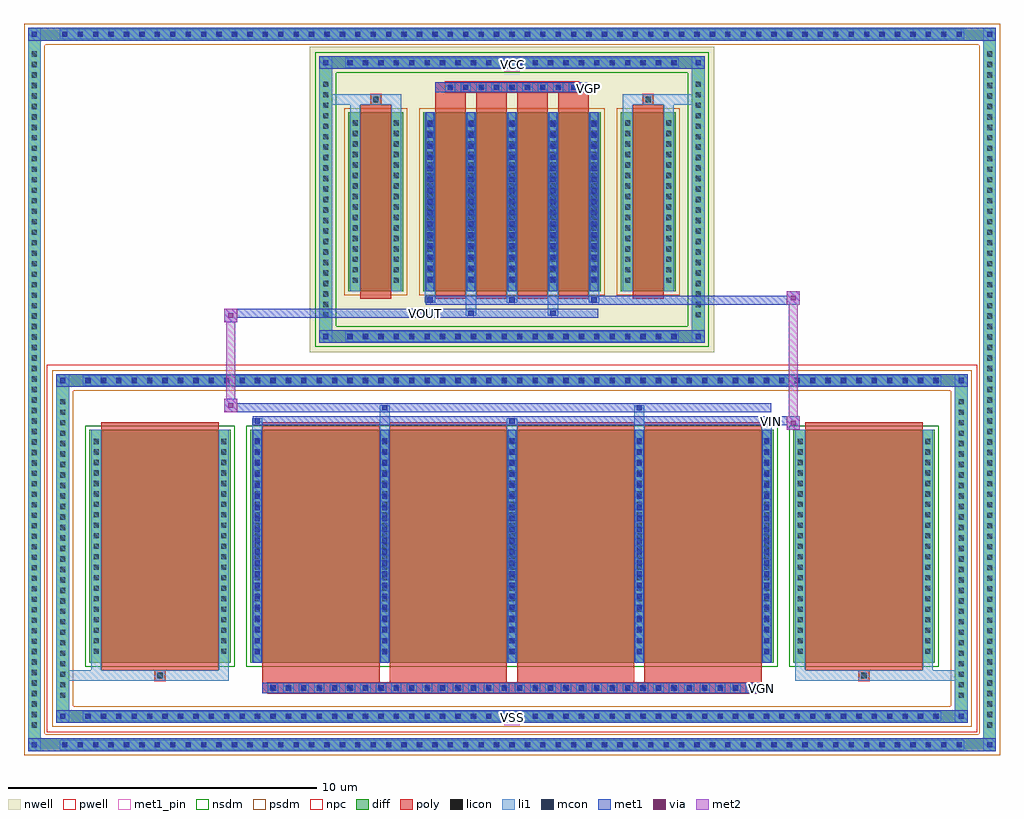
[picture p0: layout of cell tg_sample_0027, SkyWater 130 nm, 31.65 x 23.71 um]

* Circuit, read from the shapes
.subckt tg_sample_0027 VCC VGN VGP VIN VOUT VSS
XM1 VSS VSS VSS VSUBS sky130_fd_pr__nfet_01v8 w=7.55 l=3.8 m=2
XM2 VOUT VGN VIN VSUBS sky130_fd_pr__nfet_01v8 w=7.55 l=3.8 m=4
XM3 VCC VCC VCC n1 sky130_fd_pr__pfet_01v8 w=5.8 l=1 m=2
XM4 VOUT VGP VIN n1 sky130_fd_pr__pfet_01v8 w=5.8 l=1 m=4
.ends

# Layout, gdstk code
import gdstk
lib = gdstk.Library(unit=1e-6, precision=5e-09)
def R(c, l, rs):  # rectangles x0, y0, x1, y1
    for r in rs: c.add(gdstk.rectangle(r[:2], r[2:], *l))
def A(c, l, x, y, w, h, nx, ny, dx, dy):  # array of equal rectangles
    R(c, l, [(x+i*dx, y+j*dy, x+i*dx+w, y+j*dy+h) for i in range(nx) for j in range(ny)])
def P(c, l, *ps):  # polygons
    for p in ps: c.add(gdstk.Polygon(p, *l))
nwell = (64, 20)
pwell = (64, 44)
diff = (65, 20)
poly = (66, 20)
licon = (66, 44)
li1 = (67, 20)
mcon = (67, 44)
met1_pin = (68, 16)
met1 = (68, 20)
via = (68, 44)
met2 = (69, 20)
nsdm = (93, 44)
psdm = (94, 20)
npc = (95, 20)

tg_sample_0027 = lib.new_cell('tg_sample_0027')
R(tg_sample_0027, nwell, [(-6.555,6.36,6.555,16.27)])
R(tg_sample_0027, pwell, [(-15.085,-5.96,15.085,5.96)])
A(tg_sample_0027, diff, -14.705, -6.57, 0.41, 0.41, 59, 2, 0.5, 23.04)
A(tg_sample_0027, diff, -15.695, -5.93, 0.41, 0.41, 1, 65, 0, 0.34)
A(tg_sample_0027, diff, 15.285, -5.93, 0.41, 0.41, 1, 65, 0, 0.34)
A(tg_sample_0027, diff, -13.955, -5.65, 0.41, 0.41, 56, 2, 0.5, 10.89)
A(tg_sample_0027, diff, -14.775, -4.965, 0.41, 0.41, 1, 29, 0, 0.34)
A(tg_sample_0027, diff, 14.365, -4.965, 0.41, 0.41, 1, 29, 0, 0.34)
A(tg_sample_0027, diff, -5.455, 6.67, 0.41, 0.41, 22, 2, 0.5, 8.88)
A(tg_sample_0027, diff, -6.245, 7.37, 0.41, 0.41, 1, 23, 0, 0.34)
A(tg_sample_0027, diff, 5.835, 7.37, 0.41, 0.41, 1, 23, 0, 0.34)
R(tg_sample_0027, diff, [(-14.705,-6.57,14.705,-6.16), (-15.695,-5.93,-15.285,16.24), (15.285,-5.93,15.695,16.24), (-13.955,-5.65,13.955,-5.24), (-14.775,-4.965,-14.365,4.965), (14.365,-4.965,14.775,4.965), (-13.705,-3.705,-9.125,3.845), (-8.485,-3.705,8.485,3.845), (9.125,-3.705,13.705,3.845), (-13.955,5.24,13.955,5.65), (-5.455,6.67,5.455,7.08), (-6.245,7.37,-5.835,15.26), (5.835,7.37,6.245,15.26), (-5.305,8.345,-3.525,14.145), (-2.885,8.345,2.885,14.145), (3.525,8.345,5.305,14.145), (-5.455,15.55,5.455,15.96), (-14.705,16.47,14.705,16.88)])
P(tg_sample_0027, diff, [(14.775,5.65),(-14.775,5.65),(-14.775,-5.24),(-14.365,-5.24),(-14.365,5.24),(14.365,5.24),(14.365,-5.24),(-14.365,-5.24),(-14.775,-5.24),(-14.775,-5.65),(14.775,-5.65)],
  [(15.695,16.88),(-15.695,16.88),(-15.695,-6.16),(-15.285,-6.16),(-15.285,16.47),(15.285,16.47),(15.285,-6.16),(-15.285,-6.16),(-15.695,-6.16),(-15.695,-6.57),(15.695,-6.57)],
  [(6.245,6.67),(-6.245,6.67),(-6.245,15.55),(-5.835,15.55),(-5.835,7.08),(5.835,7.08),(5.835,15.55),(-5.835,15.55),(-6.245,15.55),(-6.245,15.96),(6.245,15.96)])
A(tg_sample_0027, poly, -7.915, -4.69, 0.33, 0.33, 32, 1, 0.5, 0)
A(tg_sample_0027, poly, -8.095, -4.36, 3.8, 0.405, 4, 1, 4.13, 0)
A(tg_sample_0027, poly, -8.095, -3.955, 3.8, 8.05, 4, 1, 4.13, 0)
A(tg_sample_0027, poly, -2.495, 8.095, 1, 6.3, 4, 1, 1.33, 0)
A(tg_sample_0027, poly, -2.495, 14.395, 1, 0.4, 4, 1, 1.33, 0)
A(tg_sample_0027, poly, -2.165, 14.795, 0.33, 0.33, 9, 1, 0.5, 0)
R(tg_sample_0027, poly, [(-8.095,-4.69,8.095,-4.36), (-11.58,-4.285,-11.25,-3.955), (-11.58,-4.285,-11.25,-3.955), (11.25,-4.285,11.58,-3.955), (11.25,-4.285,11.58,-3.955), (-13.315,-3.955,-9.515,4.095), (9.515,-3.955,13.315,4.095), (-4.915,8.095,-3.915,14.395), (3.915,8.095,4.915,14.395), (-4.58,14.395,-4.25,14.725), (-4.58,14.395,-4.25,14.725), (4.25,14.395,4.58,14.725), (4.25,14.395,4.58,14.725), (-2.495,14.795,2.495,15.125)])
A(tg_sample_0027, licon, -14.585, -6.45, 0.17, 0.17, 59, 2, 0.5, 23.04)
A(tg_sample_0027, licon, -15.575, -5.81, 0.17, 0.17, 1, 65, 0, 0.34)
A(tg_sample_0027, licon, 15.405, -5.81, 0.17, 0.17, 1, 65, 0, 0.34)
A(tg_sample_0027, licon, -13.835, -5.53, 0.17, 0.17, 56, 2, 0.5, 10.89)
A(tg_sample_0027, licon, -14.655, -4.845, 0.17, 0.17, 1, 29, 0, 0.34)
A(tg_sample_0027, licon, 14.485, -4.845, 0.17, 0.17, 1, 29, 0, 0.34)
A(tg_sample_0027, licon, -7.835, -4.61, 0.17, 0.17, 32, 1, 0.5, 0)
A(tg_sample_0027, licon, -13.565, -3.415, 0.17, 0.17, 1, 21, 0, 0.34)
A(tg_sample_0027, licon, -9.435, -3.415, 0.17, 0.17, 1, 21, 0, 0.34)
A(tg_sample_0027, licon, -8.345, -3.415, 0.17, 0.17, 5, 21, 4.13, 0.34)
A(tg_sample_0027, licon, 9.265, -3.415, 0.17, 0.17, 1, 21, 0, 0.34)
A(tg_sample_0027, licon, 13.395, -3.415, 0.17, 0.17, 1, 21, 0, 0.34)
A(tg_sample_0027, licon, -5.335, 6.79, 0.17, 0.17, 22, 2, 0.5, 8.88)
A(tg_sample_0027, licon, -6.125, 7.49, 0.17, 0.17, 1, 23, 0, 0.34)
A(tg_sample_0027, licon, 5.955, 7.49, 0.17, 0.17, 1, 23, 0, 0.34)
A(tg_sample_0027, licon, -5.165, 8.61, 0.17, 0.17, 1, 16, 0, 0.34)
A(tg_sample_0027, licon, -3.835, 8.61, 0.17, 0.17, 1, 16, 0, 0.34)
A(tg_sample_0027, licon, -2.745, 8.61, 0.17, 0.17, 5, 16, 1.33, 0.34)
A(tg_sample_0027, licon, 3.665, 8.61, 0.17, 0.17, 1, 16, 0, 0.34)
A(tg_sample_0027, licon, 4.995, 8.61, 0.17, 0.17, 1, 16, 0, 0.34)
A(tg_sample_0027, licon, -2.085, 14.875, 0.17, 0.17, 9, 1, 0.5, 0)
R(tg_sample_0027, licon, [(-11.5,-4.205,-11.33,-4.035), (11.33,-4.205,11.5,-4.035), (-4.5,14.475,-4.33,14.645), (4.33,14.475,4.5,14.645)])
A(tg_sample_0027, li1, -14.665, -6.53, 0.33, 0.33, 59, 2, 0.5, 23.04)
A(tg_sample_0027, li1, -15.655, -5.89, 0.33, 0.33, 1, 65, 0, 0.34)
A(tg_sample_0027, li1, 15.325, -5.89, 0.33, 0.33, 1, 65, 0, 0.34)
A(tg_sample_0027, li1, -13.915, -5.61, 0.33, 0.33, 56, 2, 0.5, 10.89)
A(tg_sample_0027, li1, -14.735, -4.925, 0.33, 0.33, 1, 29, 0, 0.34)
A(tg_sample_0027, li1, 14.405, -4.925, 0.33, 0.33, 1, 29, 0, 0.34)
A(tg_sample_0027, li1, -7.915, -4.69, 0.33, 0.33, 32, 1, 0.5, 0)
A(tg_sample_0027, li1, -8.425, -3.705, 0.33, 7.55, 5, 1, 4.13, 0)
A(tg_sample_0027, li1, -13.645, -3.495, 0.33, 0.33, 1, 21, 0, 0.34)
A(tg_sample_0027, li1, -9.515, -3.495, 0.33, 0.33, 1, 21, 0, 0.34)
A(tg_sample_0027, li1, -8.425, -3.495, 0.33, 0.33, 5, 21, 4.13, 0.34)
A(tg_sample_0027, li1, 9.185, -3.495, 0.33, 0.33, 1, 21, 0, 0.34)
A(tg_sample_0027, li1, 13.315, -3.495, 0.33, 0.33, 1, 21, 0, 0.34)
A(tg_sample_0027, li1, -8.345, -3.435, 0.17, 0.17, 5, 20, 4.13, 0.36)
A(tg_sample_0027, li1, -8.345, -3.435, 0.17, 7.01, 5, 1, 4.13, 0)
A(tg_sample_0027, li1, -8.425, 3.845, 0.33, 0.375, 3, 1, 8.26, 0)
A(tg_sample_0027, li1, -8.345, 4.05, 0.17, 0.17, 3, 1, 8.26, 0)
A(tg_sample_0027, li1, -5.415, 6.71, 0.33, 0.33, 22, 2, 0.5, 8.88)
A(tg_sample_0027, li1, -6.205, 7.41, 0.33, 0.33, 1, 23, 0, 0.34)
A(tg_sample_0027, li1, 5.875, 7.41, 0.33, 0.33, 1, 23, 0, 0.34)
A(tg_sample_0027, li1, -2.825, 7.97, 0.33, 0.375, 3, 1, 2.66, 0)
A(tg_sample_0027, li1, -2.745, 7.97, 0.17, 0.17, 3, 1, 2.66, 0)
A(tg_sample_0027, li1, -2.825, 8.345, 0.33, 5.8, 5, 1, 1.33, 0)
A(tg_sample_0027, li1, -5.245, 8.53, 0.33, 0.33, 1, 16, 0, 0.34)
A(tg_sample_0027, li1, -3.915, 8.53, 0.33, 0.33, 1, 16, 0, 0.34)
A(tg_sample_0027, li1, -2.825, 8.53, 0.33, 0.33, 5, 16, 1.33, 0.34)
A(tg_sample_0027, li1, 3.585, 8.53, 0.33, 0.33, 1, 16, 0, 0.34)
A(tg_sample_0027, li1, 4.915, 8.53, 0.33, 0.33, 1, 16, 0, 0.34)
A(tg_sample_0027, li1, -2.745, 8.64, 0.17, 0.17, 5, 15, 1.33, 0.36)
A(tg_sample_0027, li1, -2.745, 8.64, 0.17, 5.21, 5, 1, 1.33, 0)
A(tg_sample_0027, li1, -2.165, 14.795, 0.33, 0.33, 9, 1, 0.5, 0)
R(tg_sample_0027, li1, [(-15.695,-6.57,-15.285,-6.16), (15.285,-6.57,15.695,-6.16), (-14.665,-6.53,14.665,-6.2), (-15.575,-6.45,-15.405,-6.28), (-15.575,-6.45,-15.405,-6.28), (15.405,-6.45,15.575,-6.28), (15.405,-6.45,15.575,-6.28), (-15.695,-6.16,-15.285,16.47), (15.285,-6.16,15.695,16.47), (-14.775,-5.65,-14.365,-5.24), (14.365,-5.65,14.775,-5.24), (-13.915,-5.61,13.915,-5.28), (-14.655,-5.53,-14.485,-5.36), (-14.655,-5.53,-14.485,-5.36), (14.485,-5.53,14.655,-5.36), (14.485,-5.53,14.655,-5.36), (-14.775,-5.24,-14.365,5.24), (14.365,-5.24,14.775,5.24), (-14.775,-4.285,-11.58,-3.955), (-13.645,-4.285,-11.58,-3.955), (-13.645,-4.285,-13.315,-3.705), (-11.58,-4.285,-11.25,-3.955), (-11.25,-4.285,-9.185,-3.955), (-9.515,-4.285,-9.185,-3.705), (9.185,-4.285,11.25,-3.955), (9.185,-4.285,9.515,-3.705), (11.25,-4.285,11.58,-3.955), (11.25,-4.285,14.775,-3.955), (11.58,-4.285,13.645,-3.955), (13.315,-4.285,13.645,-3.705), (-13.645,-3.705,-13.315,3.845), (-9.515,-3.705,-9.185,3.845), (9.185,-3.705,9.515,3.845), (13.315,-3.705,13.645,3.845), (-4.295,3.845,-3.965,4.65), (3.965,3.845,4.295,4.65), (-4.215,4.48,-4.045,4.65), (4.045,4.48,4.215,4.65), (-14.775,5.24,-14.365,5.65), (14.365,5.24,14.775,5.65), (-13.915,5.28,13.915,5.61), (-14.655,5.36,-14.485,5.53), (-14.655,5.36,-14.485,5.53), (14.485,5.36,14.655,5.53), (14.485,5.36,14.655,5.53), (-6.245,6.67,-5.835,7.08), (5.835,6.67,6.245,7.08), (-5.415,6.71,5.415,7.04), (-6.125,6.79,-5.955,6.96), (-6.125,6.79,-5.955,6.96), (5.955,6.79,6.125,6.96), (5.955,6.79,6.125,6.96), (-6.245,7.08,-5.835,15.55), (5.835,7.08,6.245,15.55), (-1.495,7.54,-1.165,8.345), (-1.415,7.54,-1.245,7.71), (1.165,7.54,1.495,8.345), (1.245,7.54,1.415,7.71), (-5.245,8.345,-4.915,14.145), (-3.915,8.345,-3.585,14.145), (3.585,8.345,3.915,14.145), (4.915,8.345,5.245,14.145), (-5.245,14.145,-4.915,14.725), (-3.915,14.145,-3.585,14.725), (3.585,14.145,3.915,14.725), (4.915,14.145,5.245,14.725), (-6.245,14.395,-4.58,14.725), (-5.245,14.395,-4.58,14.725), (-4.58,14.395,-4.25,14.725), (-4.25,14.395,-3.585,14.725), (3.585,14.395,4.25,14.725), (4.25,14.395,4.58,14.725), (4.25,14.395,6.245,14.725), (4.58,14.395,5.245,14.725), (-6.245,15.55,-5.835,15.96), (5.835,15.55,6.245,15.96), (-5.415,15.59,5.415,15.92), (-6.125,15.67,-5.955,15.84), (-6.125,15.67,-5.955,15.84), (5.955,15.67,6.125,15.84), (5.955,15.67,6.125,15.84), (-15.695,16.47,-15.285,16.88), (15.285,16.47,15.695,16.88), (-14.665,16.51,14.665,16.84), (-15.575,16.59,-15.405,16.76), (-15.575,16.59,-15.405,16.76), (15.405,16.59,15.575,16.76), (15.405,16.59,15.575,16.76)])
A(tg_sample_0027, mcon, -14.585, -6.45, 0.17, 0.17, 59, 2, 0.5, 23.04)
A(tg_sample_0027, mcon, -13.835, -5.53, 0.17, 0.17, 56, 2, 0.5, 10.89)
A(tg_sample_0027, mcon, -7.835, -4.61, 0.17, 0.17, 32, 1, 0.5, 0)
A(tg_sample_0027, mcon, -8.345, -3.435, 0.17, 0.17, 5, 20, 4.13, 0.36)
A(tg_sample_0027, mcon, -8.345, 4.05, 0.17, 0.17, 3, 1, 8.26, 0)
A(tg_sample_0027, mcon, -5.335, 6.79, 0.17, 0.17, 22, 2, 0.5, 8.88)
A(tg_sample_0027, mcon, -2.745, 7.97, 0.17, 0.17, 3, 1, 2.66, 0)
A(tg_sample_0027, mcon, -2.745, 8.64, 0.17, 0.17, 5, 15, 1.33, 0.36)
A(tg_sample_0027, mcon, -2.085, 14.875, 0.17, 0.17, 9, 1, 0.5, 0)
R(tg_sample_0027, mcon, [(-15.575,-6.45,-15.405,-6.28), (15.405,-6.45,15.575,-6.28), (-14.655,-5.53,-14.485,-5.36), (14.485,-5.53,14.655,-5.36), (-4.215,4.48,-4.045,4.65), (4.045,4.48,4.215,4.65), (-14.655,5.36,-14.485,5.53), (14.485,5.36,14.655,5.53), (-6.125,6.79,-5.955,6.96), (5.955,6.79,6.125,6.96), (-1.415,7.54,-1.245,7.71), (1.245,7.54,1.415,7.71), (-6.125,15.67,-5.955,15.84), (5.955,15.67,6.125,15.84), (-15.575,16.59,-15.405,16.76), (15.405,16.59,15.575,16.76)])
R(tg_sample_0027, met1_pin, [(-0.25,-5.74,0.25,-5.24), (7.96,-4.69,8.23,-4.42), (8.27,3.99,8.54,4.26), (-2.94,7.48,-2.67,7.75), (2.36,14.795,2.63,15.065), (-0.25,15.46,0.25,15.96)])
A(tg_sample_0027, met1, -14.645, -6.51, 0.29, 0.29, 59, 2, 0.5, 23.04)
A(tg_sample_0027, met1, -13.895, -5.59, 0.29, 0.29, 56, 2, 0.5, 10.89)
A(tg_sample_0027, met1, -7.895, -4.67, 0.29, 0.29, 32, 1, 0.5, 0)
A(tg_sample_0027, met1, -8.405, -3.705, 0.29, 7.55, 5, 1, 4.13, 0)
A(tg_sample_0027, met1, -8.405, -3.495, 0.29, 0.29, 5, 20, 4.13, 0.36)
A(tg_sample_0027, met1, -8.405, 3.99, 0.29, 0.29, 3, 1, 8.26, 0)
A(tg_sample_0027, met1, -5.395, 6.73, 0.29, 0.29, 22, 2, 0.5, 8.88)
A(tg_sample_0027, met1, -2.805, 7.91, 0.29, 0.29, 3, 1, 2.66, 0)
A(tg_sample_0027, met1, -2.805, 8.345, 0.29, 5.8, 5, 1, 1.33, 0)
A(tg_sample_0027, met1, -2.805, 8.58, 0.29, 0.29, 5, 15, 1.33, 0.36)
A(tg_sample_0027, met1, -2.145, 14.815, 0.29, 0.29, 9, 1, 0.5, 0)
R(tg_sample_0027, met1, [(-15.695,-6.57,-15.285,-6.16), (-15.695,-6.57,-15.285,-6.16), (-15.285,-6.57,15.285,-6.16), (15.285,-6.57,15.695,-6.16), (15.285,-6.57,15.695,-6.16), (-15.635,-6.51,-15.345,-6.22), (15.345,-6.51,15.635,-6.22), (-14.775,-5.65,-14.365,-5.24), (-14.775,-5.65,-14.365,-5.24), (-14.365,-5.65,14.365,-5.24), (14.365,-5.65,14.775,-5.24), (14.365,-5.65,14.775,-5.24), (-14.715,-5.59,-14.425,-5.3), (14.425,-5.59,14.715,-5.3), (-8.095,-4.69,8.095,-4.36), (8.905,3.85,9.335,4.28), (-8.405,3.99,8.405,4.28), (8.405,3.99,9.335,4.28), (-9.335,4.42,-8.405,4.71), (-9.335,4.42,-8.905,4.85), (-8.405,4.42,8.405,4.71), (-4.275,4.42,-3.985,4.71), (3.985,4.42,4.275,4.71), (-14.775,5.24,-14.365,5.65), (-14.775,5.24,-14.365,5.65), (-14.365,5.24,14.365,5.65), (14.365,5.24,14.775,5.65), (14.365,5.24,14.775,5.65), (-14.715,5.3,-14.425,5.59), (14.425,5.3,14.715,5.59), (-6.245,6.67,-5.835,7.08), (-6.245,6.67,-5.835,7.08), (-5.835,6.67,5.835,7.08), (5.835,6.67,6.245,7.08), (5.835,6.67,6.245,7.08), (-6.185,6.73,-5.895,7.02), (5.895,6.73,6.185,7.02), (-9.335,7.34,-8.905,7.77), (-9.335,7.48,-2.805,7.77), (-2.805,7.48,2.805,7.77), (-1.475,7.48,-1.185,7.77), (1.185,7.48,1.475,7.77), (-2.805,7.91,2.805,8.2), (2.805,7.91,9.335,8.2), (8.905,7.91,9.335,8.34), (-2.495,14.795,2.495,15.125), (-6.245,15.55,-5.835,15.96), (-6.245,15.55,-5.835,15.96), (-5.835,15.55,5.835,15.96), (5.835,15.55,6.245,15.96), (5.835,15.55,6.245,15.96), (-6.185,15.61,-5.895,15.9), (5.895,15.61,6.185,15.9), (-15.695,16.47,-15.285,16.88), (-15.695,16.47,-15.285,16.88), (-15.285,16.47,15.285,16.88), (15.285,16.47,15.695,16.88), (15.285,16.47,15.695,16.88), (-15.635,16.53,-15.345,16.82), (15.345,16.53,15.635,16.82)])
R(tg_sample_0027, via, [(9.045,3.99,9.195,4.14), (-9.195,4.56,-9.045,4.71), (-9.195,7.48,-9.045,7.63), (9.045,8.05,9.195,8.2)])
R(tg_sample_0027, met2, [(8.905,3.85,9.335,4.28), (8.975,3.85,9.265,8.34), (9.265,3.85,9.335,4.28), (8.955,3.9,9.285,4.23), (-9.335,4.42,-8.905,4.85), (-9.265,4.42,-8.975,7.77), (-8.975,4.42,-8.905,4.85), (-9.285,4.47,-8.955,4.8), (-9.335,7.34,-8.905,7.77), (-8.975,7.34,-8.905,7.77), (-9.285,7.39,-8.955,7.72), (8.905,7.91,9.335,8.34), (9.265,7.91,9.335,8.34), (8.955,7.96,9.285,8.29)])
R(tg_sample_0027, nsdm, [(-13.835,-3.835,-8.995,3.975), (-8.615,-3.835,8.615,3.975), (8.995,-3.835,13.835,3.975)])
P(tg_sample_0027, nsdm, [(6.375,6.54),(-6.375,6.54),(-6.375,15.42),(-5.705,15.42),(-5.705,7.21),(5.705,7.21),(5.705,15.42),(-5.705,15.42),(-6.375,15.42),(-6.375,16.09),(6.375,16.09)])
R(tg_sample_0027, psdm, [(-5.435,8.215,-3.395,14.275), (-3.015,8.215,3.015,14.275), (3.395,8.215,5.435,14.275)])
P(tg_sample_0027, psdm, [(14.905,5.78),(-14.905,5.78),(-14.905,-5.11),(-14.235,-5.11),(-14.235,5.11),(14.235,5.11),(14.235,-5.11),(-14.235,-5.11),(-14.905,-5.11),(-14.905,-5.78),(14.905,-5.78)],
  [(15.825,17.01),(-15.825,17.01),(-15.825,-6.03),(-15.155,-6.03),(-15.155,16.34),(15.155,16.34),(15.155,-6.03),(-15.155,-6.03),(-15.825,-6.03),(-15.825,-6.7),(15.825,-6.7)])
A(tg_sample_0027, npc, -7.935, -4.71, 0.37, 0.37, 32, 1, 0.5, 0)
A(tg_sample_0027, npc, -2.185, 14.775, 0.37, 0.37, 9, 1, 0.5, 0)
R(tg_sample_0027, npc, [(-7.935,-4.71,-7.065,-4.34), (-7.935,-4.71,-7.065,-4.34), (-7.435,-4.71,-6.565,-4.34), (-7.435,-4.71,-6.565,-4.34), (-6.935,-4.71,-6.065,-4.34), (-6.935,-4.71,-6.065,-4.34), (-6.435,-4.71,-5.565,-4.34), (-6.435,-4.71,-5.565,-4.34), (-5.935,-4.71,-5.065,-4.34), (-5.935,-4.71,-5.065,-4.34), (-5.435,-4.71,-4.565,-4.34), (-5.435,-4.71,-4.565,-4.34), (-4.935,-4.71,-4.065,-4.34), (-4.935,-4.71,-4.065,-4.34), (-4.435,-4.71,-3.565,-4.34), (-4.435,-4.71,-3.565,-4.34), (-3.935,-4.71,-3.065,-4.34), (-3.935,-4.71,-3.065,-4.34), (-3.435,-4.71,-2.565,-4.34), (-3.435,-4.71,-2.565,-4.34), (-2.935,-4.71,-2.065,-4.34), (-2.935,-4.71,-2.065,-4.34), (-2.435,-4.71,-1.565,-4.34), (-2.435,-4.71,-1.565,-4.34), (-1.935,-4.71,-1.065,-4.34), (-1.935,-4.71,-1.065,-4.34), (-1.435,-4.71,-0.565,-4.34), (-1.435,-4.71,-0.565,-4.34), (-0.935,-4.71,-0.065,-4.34), (-0.935,-4.71,-0.065,-4.34), (-0.435,-4.71,0.435,-4.34), (-0.435,-4.71,0.435,-4.34), (0.065,-4.71,0.935,-4.34), (0.065,-4.71,0.935,-4.34), (0.565,-4.71,1.435,-4.34), (0.565,-4.71,1.435,-4.34), (1.065,-4.71,1.935,-4.34), (1.065,-4.71,1.935,-4.34), (1.565,-4.71,2.435,-4.34), (1.565,-4.71,2.435,-4.34), (2.065,-4.71,2.935,-4.34), (2.065,-4.71,2.935,-4.34), (2.565,-4.71,3.435,-4.34), (2.565,-4.71,3.435,-4.34), (3.065,-4.71,3.935,-4.34), (3.065,-4.71,3.935,-4.34), (3.565,-4.71,4.435,-4.34), (3.565,-4.71,4.435,-4.34), (4.065,-4.71,4.935,-4.34), (4.065,-4.71,4.935,-4.34), (4.565,-4.71,5.435,-4.34), (4.565,-4.71,5.435,-4.34), (5.065,-4.71,5.935,-4.34), (5.065,-4.71,5.935,-4.34), (5.565,-4.71,6.435,-4.34), (5.565,-4.71,6.435,-4.34), (6.065,-4.71,6.935,-4.34), (6.065,-4.71,6.935,-4.34), (6.565,-4.71,7.435,-4.34), (6.565,-4.71,7.435,-4.34), (7.065,-4.71,7.935,-4.34), (7.065,-4.71,7.935,-4.34), (-11.6,-4.305,-11.23,-3.935), (11.23,-4.305,11.6,-3.935), (-4.6,14.375,-4.23,14.745), (4.23,14.375,4.6,14.745), (-2.185,14.775,-1.315,15.145), (-2.185,14.775,-1.315,15.145), (-1.685,14.775,-0.815,15.145), (-1.685,14.775,-0.815,15.145), (-1.185,14.775,-0.315,15.145), (-1.185,14.775,-0.315,15.145), (-0.685,14.775,0.185,15.145), (-0.685,14.775,0.185,15.145), (-0.185,14.775,0.685,15.145), (-0.185,14.775,0.685,15.145), (0.315,14.775,1.185,15.145), (0.315,14.775,1.185,15.145), (0.815,14.775,1.685,15.145), (0.815,14.775,1.685,15.145), (1.315,14.775,2.185,15.145), (1.315,14.775,2.185,15.145)])
tg_sample_0027.add(gdstk.Label('VIN', (8.405,4.125), layer=68, texttype=5))
tg_sample_0027.add(gdstk.Label('VGN', (8.095,-4.555), layer=68, texttype=5))
tg_sample_0027.add(gdstk.Label('VGP', (2.495,14.93), layer=68, texttype=5))
tg_sample_0027.add(gdstk.Label('VSS', (0,-5.49), layer=68, texttype=5))
tg_sample_0027.add(gdstk.Label('VCC', (0,15.71), layer=68, texttype=5))
tg_sample_0027.add(gdstk.Label('VOUT', (-2.805,7.615), layer=68, texttype=5))

lib.write_gds('tg_sample_0027.gds')
